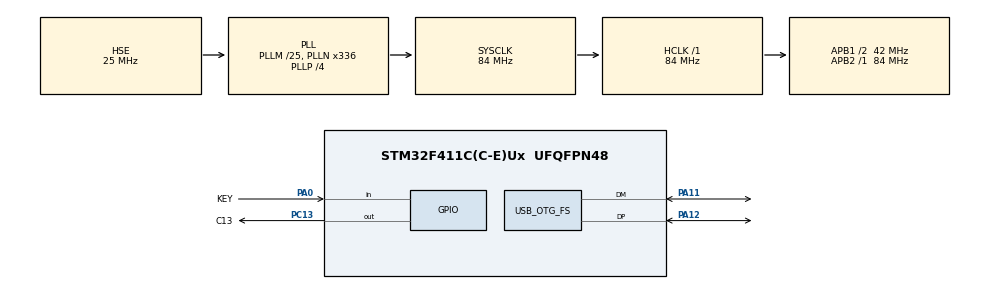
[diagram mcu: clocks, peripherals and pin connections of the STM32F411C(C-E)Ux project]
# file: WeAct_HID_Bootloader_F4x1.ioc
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Mcu.Family=STM32F4
Mcu.Name=STM32F411C(C-E)Ux
Mcu.Package=UFQFPN48
NVIC.OTG_FS_IRQn=true\:1\:0\:true\:false\:true\:false\:true
NVIC.PriorityGroup=NVIC_PRIORITYGROUP_4
PA0-WKUP.GPIO_Label=KEY
PA0-WKUP.GPIO_PuPd=GPIO_PULLUP
PA0-WKUP.Signal=GPIO_Input
PA11.Mode=Device_Only
PA11.Signal=USB_OTG_FS_DM
PA12.Mode=Device_Only
PA12.Signal=USB_OTG_FS_DP
PA13.Mode=Serial_Wire
PA13.Signal=SYS_JTMS-SWDIO
PA14.Mode=Serial_Wire
PA14.Signal=SYS_JTCK-SWCLK
PC13-ANTI_TAMP.GPIO_Label=C13
PC13-ANTI_TAMP.PinState=GPIO_PIN_SET
PC13-ANTI_TAMP.Signal=GPIO_Output
PC14-OSC32_IN.Mode=LSE-External-Oscillator
PC14-OSC32_IN.Signal=RCC_OSC32_IN
PC15-OSC32_OUT.Mode=LSE-External-Oscillator
PC15-OSC32_OUT.Signal=RCC_OSC32_OUT
PH0\ -\ OSC_IN.Mode=HSE-External-Oscillator
PH0\ -\ OSC_IN.Signal=RCC_OSC_IN
PH1\ -\ OSC_OUT.Mode=HSE-External-Oscillator
PH1\ -\ OSC_OUT.Signal=RCC_OSC_OUT
ProjectManager.HeapSize=0x800
ProjectManager.StackSize=0x400
ProjectManager.TargetToolchain=Makefile
RCC.48MHZClocksFreq_Value=48000000
RCC.AHBFreq_Value=84000000
RCC.APB1CLKDivider=RCC_HCLK_DIV2
RCC.APB1Freq_Value=42000000
RCC.APB1TimFreq_Value=84000000
RCC.APB2Freq_Value=84000000
RCC.APB2TimFreq_Value=84000000
RCC.CortexFreq_Value=84000000
RCC.HCLKFreq_Value=84000000
RCC.HSE_VALUE=25000000
RCC.HSI_VALUE=16000000
RCC.PLLM=25
RCC.PLLN=336
RCC.PLLP=RCC_PLLP_DIV4
RCC.PLLQ=7
RCC.RCC_RTC_Clock_Source=RCC_RTCCLKSOURCE_LSE
RCC.RCC_RTC_Clock_SourceVirtual=RCC_RTCCLKSOURCE_LSE
RCC.SYSCLKFreq_VALUE=84000000
RCC.SYSCLKSource=RCC_SYSCLKSOURCE_PLLCLK
RCC.VCOOutputFreq_Value=336000000
USB_DEVICE.CLASS_NAME_FS=CUSTOM_HID
USB_DEVICE.CONFIGURATION_STRING_CUSTOMHID_FS=STM32 HID Bootloader Config
USB_DEVICE.CUSTOM_HID_FS_BINTERVAL=1
USB_DEVICE.INTERFACE_STRING_CUSTOMHID_FS=STM32 HID Bootloader Interface
USB_DEVICE.MANUFACTURER_STRING=Klipper
USB_DEVICE.PID_CUSTOMHID_FS=22314
USB_DEVICE.PRODUCT_STRING_CUSTOMHID_FS=Klipper STM32 HID Bootloader
USB_DEVICE.USBD_CUSTOMHID_OUTREPORT_BUF_SIZE=64
USB_DEVICE.USBD_CUSTOM_HID_REPORT_DESC_SIZE=20
USB_DEVICE.VID=1155
USB_DEVICE.VirtualMode=CustomHid
USB_DEVICE.VirtualModeFS=Custom_Hid_FS
USB_OTG_FS.Sof_enable=DISABLE
USB_OTG_FS.VirtualMode=Device_Only
VP_RTC_VS_RTC_Activate.Mode=RTC_Enabled
VP_USB_DEVICE_VS_USB_DEVICE_CUSTOM_HID_FS.Mode=CUSTOM_HID_FS
board=custom

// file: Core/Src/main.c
/* USER CODE BEGIN Header */
/**
  ******************************************************************************
  * @file           : main.c
  * @brief          : Main program body
  ******************************************************************************
  * @attention
  *
  * <h2><center>&copy; Copyright (c) 2019 STMicroelectronics.
  * All rights reserved.</center></h2>
  *
  * This software component is licensed by ST under Ultimate Liberty license
  * SLA0044, the "License"; You may not use this file except in compliance with
  * the License. You may obtain a copy of the License at:
  *                             www.st.com/SLA0044
  *
  ******************************************************************************
  */
/* USER CODE END Header */

#include "main.h"
#include "rtc.h"
#include "usb_device.h"
#include "gpio.h"

/* USER CODE BEGIN Includes */
#include "hid_bootloader.h"
/* USER CODE END Includes */

/* USER CODE BEGIN PM */
unsigned short key_value;
/* USER CODE END PM */

void SystemClock_Config(void);

int main(void)
{
  /* USER CODE BEGIN 1 */
	uint32_t tick,tick1,tick2;
	uint8_t breathsw = 1;
  /* USER CODE END 1 */

  /* MCU Configuration--------------------------------------------------------*/

  /* Reset of all peripherals, Initializes the Flash interface and the Systick. */
  HAL_Init();

  /* Configure the system clock */
  SystemClock_Config();

  /* USER CODE BEGIN SysInit */

  MX_GPIO_Init();
	HAL_Delay(1);
	hid_bootloader_Init();
	while(HAL_GPIO_ReadPin(KEY_GPIO_Port,KEY_Pin) == BOOT_ENABLED)
	{
		HAL_GPIO_TogglePin(C13_GPIO_Port,C13_Pin);
		HAL_Delay(60);
	}
	HAL_GPIO_WritePin(C13_GPIO_Port, C13_Pin, GPIO_PIN_SET);
  /* USER CODE END SysInit */

  /* Initialize all configured peripherals */
  MX_RTC_Init();
  MX_USB_DEVICE_Init();

  /* Infinite loop */
  while (1)
  {

    /* USER CODE BEGIN 3 */
		hid_bootloader_Run();

		/* C13 �����Ʋ��� */
	  /* C13 Breathing Lamp test */
		static uint8_t pwmset;
		static uint16_t time;
		static uint8_t timeflag;
		static uint8_t timecount;
	  if((HAL_GetTick() - tick >= 1 ))
	  {
		   tick = HAL_GetTick();

		   if(breathsw == 1)
			{
				 /* ������ */
				 /* Breathing Lamp */
				if(timeflag == 0)
				{
					time ++;
					if(time >= 1200) timeflag = 1;
				}
				else
				{
					time --;
					if(time <= 110) timeflag = 0;
				}

				/* ռ�ձ����� */
				/* Duty Cycle Setting */
				pwmset = time/120;

				/* 20ms ���� */
				/* 20ms Pulse Width */
				if(timecount > 20) timecount = 0;
				else timecount ++;

				if(timecount >= pwmset ) HAL_GPIO_WritePin(C13_GPIO_Port,C13_Pin,GPIO_PIN_SET);
				else HAL_GPIO_WritePin(C13_GPIO_Port,C13_Pin,GPIO_PIN_RESET);
			}
		}

		if(HAL_GetTick() - tick1 >= 50)
		{
			tick1 = HAL_GetTick();

			static GPIO_PinState KEY_last = GPIO_PIN_SET;
			static uint32_t long_press_count = 0;

			if(HAL_GPIO_ReadPin(KEY_GPIO_Port,KEY_Pin) == BOOT_ENABLED)
			{
				KEY_last = BOOT_ENABLED;

				long_press_count ++;
				if(long_press_count > 12) // 0.6s
				{
					/* long press */
					while(HAL_GPIO_ReadPin(KEY_GPIO_Port,KEY_Pin) == BOOT_ENABLED)
					{
						HAL_GPIO_TogglePin(C13_GPIO_Port,C13_Pin);
						HAL_Delay(100);
					}
					/*  Jump to Embedded bootloader */
					USBD_DeInit(&hUsbDeviceFS);
					HAL_GPIO_WritePin(C13_GPIO_Port,C13_Pin,GPIO_PIN_SET);
					HAL_Delay(10);
					HAL_DeInit();
					hid_bootloader_Jump(System_ISP_ADD);
				}
			}
			else if(HAL_GPIO_ReadPin(KEY_GPIO_Port,KEY_Pin) != KEY_last)
			{
				KEY_last = HAL_GPIO_ReadPin(KEY_GPIO_Port,KEY_Pin);

				/* short press */
				if(long_press_count < 8)
				{
					HAL_GPIO_WritePin(C13_GPIO_Port,C13_Pin,GPIO_PIN_SET);
					breathsw = breathsw == 0?1:0;
				}
				long_press_count = 0;
			}
		}
  }
  /* USER CODE END 3 */
}

void SystemClock_Config(void)
{
  RCC_OscInitTypeDef RCC_OscInitStruct = {0};
  RCC_ClkInitTypeDef RCC_ClkInitStruct = {0};
  RCC_PeriphCLKInitTypeDef PeriphClkInitStruct = {0};

  /** Configure the main internal regulator output voltage
  */
  __HAL_RCC_PWR_CLK_ENABLE();
  __HAL_PWR_VOLTAGESCALING_CONFIG(PWR_REGULATOR_VOLTAGE_SCALE1);
  /** Initializes the CPU, AHB and APB busses clocks
  */
  RCC_OscInitStruct.OscillatorType = RCC_OSCILLATORTYPE_HSE|RCC_OSCILLATORTYPE_LSE;
  RCC_OscInitStruct.HSEState = RCC_HSE_ON;
  RCC_OscInitStruct.LSEState = RCC_LSE_ON;
  RCC_OscInitStruct.PLL.PLLState = RCC_PLL_ON;
  RCC_OscInitStruct.PLL.PLLSource = RCC_PLLSOURCE_HSE;
  RCC_OscInitStruct.PLL.PLLM = 25;
  RCC_OscInitStruct.PLL.PLLN = 336;
  RCC_OscInitStruct.PLL.PLLP = RCC_PLLP_DIV4;
  RCC_OscInitStruct.PLL.PLLQ = 7;
  if (HAL_RCC_OscConfig(&RCC_OscInitStruct) != HAL_OK)
  {
    Error_Handler();
  }
  /** Initializes the CPU, AHB and APB busses clocks
  */
  RCC_ClkInitStruct.ClockType = RCC_CLOCKTYPE_HCLK|RCC_CLOCKTYPE_SYSCLK
                              |RCC_CLOCKTYPE_PCLK1|RCC_CLOCKTYPE_PCLK2;
  RCC_ClkInitStruct.SYSCLKSource = RCC_SYSCLKSOURCE_PLLCLK;
  RCC_ClkInitStruct.AHBCLKDivider = RCC_SYSCLK_DIV1;
  RCC_ClkInitStruct.APB1CLKDivider = RCC_HCLK_DIV2;
  RCC_ClkInitStruct.APB2CLKDivider = RCC_HCLK_DIV1;

  if (HAL_RCC_ClockConfig(&RCC_ClkInitStruct, FLASH_LATENCY_2) != HAL_OK)
  {
    Error_Handler();
  }
  PeriphClkInitStruct.PeriphClockSelection = RCC_PERIPHCLK_RTC;
  PeriphClkInitStruct.RTCClockSelection = RCC_RTCCLKSOURCE_LSE;
  if (HAL_RCCEx_PeriphCLKConfig(&PeriphClkInitStruct) != HAL_OK)
  {
    Error_Handler();
  }
}

void Error_Handler(void)
{
}

/************************ (C) COPYRIGHT STMicroelectronics *****END OF FILE****/
